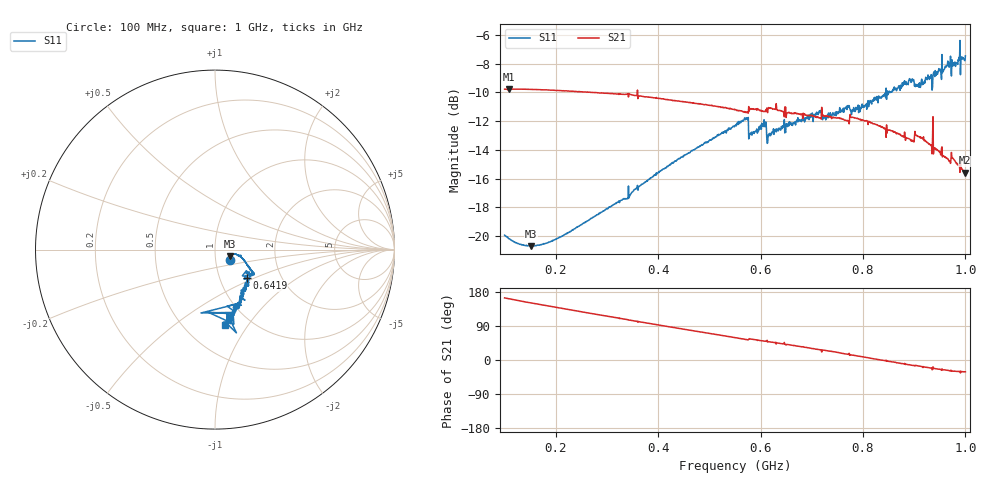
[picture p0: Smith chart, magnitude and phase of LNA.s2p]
! ListType=Lin
# MHZ S RI R 50
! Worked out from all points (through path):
!   1024 points, 100 MHz to 1 GHz, reference 50 ohm
!   highest |S21| = -9.77 dB at 107.9 MHz (marker M1); lowest = -15.6 dB at 999.1 MHz (marker M2)
!   lowest |S11| = -20.7 dB at 151 MHz (marker M3), VSWR 1.20, Z = 59.1 - j4.29 ohm
!   |S11| at or under -10 dB: start of sweep to 844.8 MHz; 845.4961 MHz to 846.755 MHz (1.259 MHz wide, 0.149 % of centre); 847.4883 MHz to 849.9998 MHz (2.511 MHz wide, 0.296 % of centre)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
!   S12 and S22 are empty: the file has one direction only
!   S11 on the Smith chart (normalised r, x): 100 MHz: 1.17, -0.13; 641.9 MHz: 1.34, -0.45; 1 GHz: 0.77, -0.78
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100  0.0838 -0.0561  -0.3116 0.0903  0 0  0 0
107.9179  0.0837 -0.0512  -0.3083 0.1025  0 0  0 0
151.0264  0.085 -0.036  -0.2823 0.1587  0 0  0 0
250.4399  0.1072 -0.0234  -0.1913 0.2535  0 0  0 0
342.8152  0.1316 -0.0337  -0.0834 0.3016  0 0  0 0
400  0.1568 -0.0544  -0.0137 0.3014  0 0  0 0
550.4399  0.2079 -0.1256  0.142 0.2352  0 0  0 0
571.5543  0.2183 -0.1364  0.1581 0.2174  0 0  0 0
581.2317  0.186 -0.129  0.1586 0.2279  0 0  0 0
606.7449  0.2095 -0.1435  0.1743 0.2086  0 0  0 0
616.4223  0.1687 -0.1466  0.1861 0.2069  0 0  0 0
641.9355  0.1765 -0.1575  0.1987 0.1859  0 0  0 0
700  0.1804 -0.1943  0.2261 0.1327  0 0  0 0
724.6334  0.1703 -0.1971  0.2353 0.1134  0 0  0 0
768.6217  0.1664 -0.2198  0.2429 0.0668  0 0  0 0
780.9384  0.1546 -0.2248  0.2526 0.0564  0 0  0 0
850.4399  0.1477 -0.2823  0.2334 -0.0144  0 0  0 0
924.3402  0.1163 -0.3353  0.2008 -0.0705  0 0  0 0
932.2581  0.0973 -0.3443  0.1929 -0.0743  0 0  0 0
958.651  0.0935 -0.3688  0.1705 -0.0823  0 0  0 0
999.1202  0.0605 -0.4028  0.1425 -0.0855  0 0  0 0
1000  0.0543 -0.42  0.1438 -0.0859  0 0  0 0
